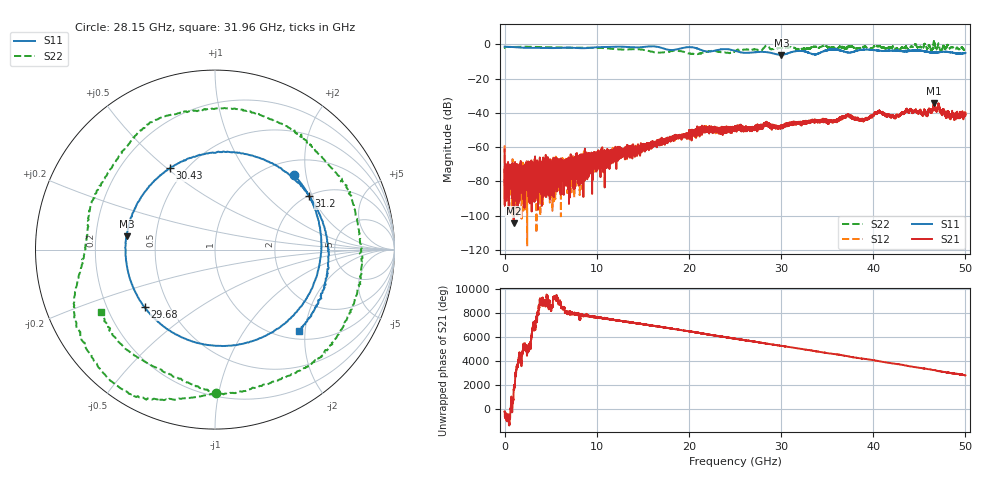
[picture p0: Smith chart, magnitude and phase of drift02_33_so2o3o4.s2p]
!Created with skrf (http://scikit-rf.org).
# Hz S RI R 50.0
!freq ReS11 ImS11 ReS21 ImS21 ReS12 ImS12 ReS22 ImS22
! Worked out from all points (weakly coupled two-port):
!   10001 points, 300 kHz to 50 GHz, reference 50 ohm
!   highest |S21| = -34.37 dB at 46.62 GHz (marker M1); lowest = -104.6 dB at 985.3 MHz (marker M2)
!   lowest |S11| = -6.1 dB at 30.03 GHz (marker M3), VSWR 2.97, Z = 16.9 + j3.37 ohm
!   |S11| at or under -10 dB: nowhere
!   |S22| runs from -5.7 to 2.4 dB; largest |S21 - S12| = 0.0033
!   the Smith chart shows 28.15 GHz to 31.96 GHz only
!   S11 on the Smith chart (normalised r, x): 28.15 GHz: 1.32, +1.72; 29.68 GHz: 0.36, -0.31; 30.43 GHz: 0.41, +0.51; 31.2 GHz: 2.02, +1.89; 31.96 GHz: 1.18, -1.86
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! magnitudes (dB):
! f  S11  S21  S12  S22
! 300 kHz  -1.3  -61.4  -58.9  -2.1
! 255.3 MHz  -1.4  -79.3  -80.6  -1.4
! 985.3 MHz  -1.5  -104.6  -87.5  -1.5
! 3.87 GHz  -2.0  -75.7  -100.1  -1.5
! 8.335 GHz  -2.2  -75.9  -74.5  -1.9
! 16.67 GHz  -1.5  -58.4  -57.2  -4.7
! 21.77 GHz  -4.0  -49.3  -49.9  -4.4
! 25 GHz  -3.7  -49.1  -48.3  -3.9
! 28.15 GHz  -4.4  -46.2  -46.6  -2.0
! 29.68 GHz  -5.9  -49.2  -47.9  -2.1
! 30.03 GHz  -6.1  -48.0  -47.7  -2.0
! 30.43 GHz  -5.7  -47.3  -47.7  -1.9
! 31.2 GHz  -4.4  -46.4  -46.1  -1.7
! 31.96 GHz  -3.7  -45.9  -46.2  -2.8
! 33.34 GHz  -5.5  -44.9  -44.7  -1.6
! 37.27 GHz  -4.7  -41.6  -41.4  -1.0
! 38.85 GHz  -3.1  -43.6  -44.8  -1.3
! 40.64 GHz  -3.6  -39.1  -39.1  -1.0
! 41.67 GHz  -3.6  -40.9  -41.2  -1.8
! 46.62 GHz  -4.6  -34.4  -34.6  2.2
! 48.55 GHz  -4.7  -41.4  -40.6  -1.6
! 50 GHz  -5.0  -40.6  -40.6  -2.7
